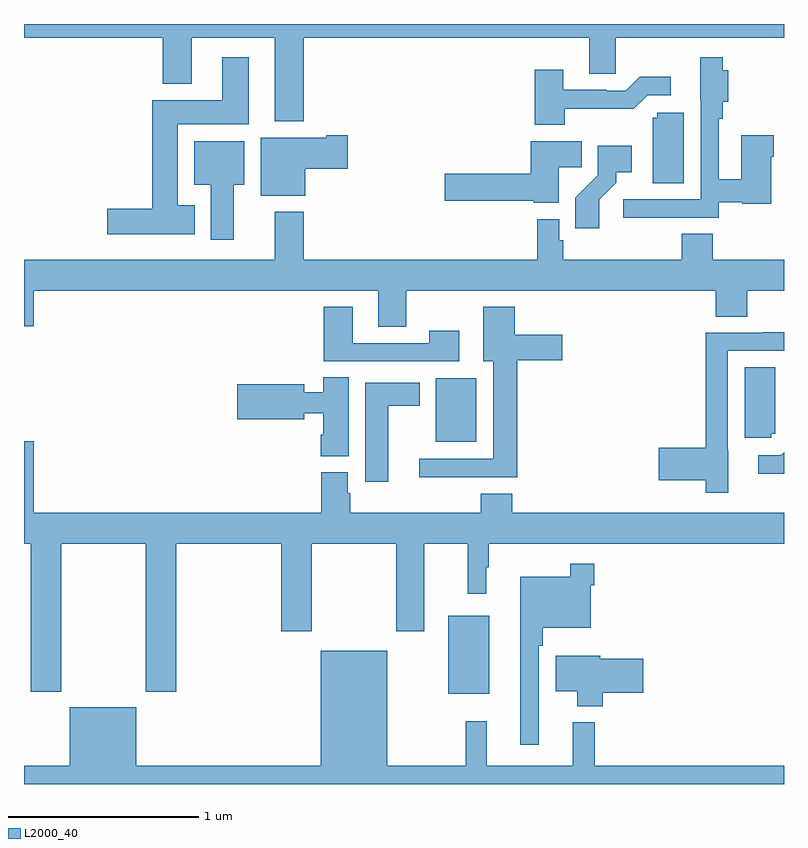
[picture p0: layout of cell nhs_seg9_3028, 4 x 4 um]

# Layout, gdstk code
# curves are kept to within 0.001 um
import gdstk
lib = gdstk.Library(unit=1e-6, precision=1e-09)
def R(c, l, rs):  # rectangles x0, y0, x1, y1
    for r in rs: c.add(gdstk.rectangle(r[:2], r[2:], *l))
def P(c, l, *ps):  # polygons
    for p in ps: c.add(gdstk.Polygon(p, *l))
L2000_40 = (2000, 40)

nhs_seg9_3028 = lib.new_cell('nhs_seg9_3028')
R(nhs_seg9_3028, L2000_40, [(287.234,1184.975,287.449,1185.385), (287.168,1186.301,287.38,1186.636)])
P(nhs_seg9_3028, L2000_40, [(286.472,1188.428),(287.975,1188.428),(287.975,1188.238),(288.114,1188.238),(288.114,1188.428),(289,1188.428),(289,1188.5),(285,1188.5),(285,1188.428),(285.731,1188.428),(285.731,1188.185),(285.883,1188.185),(285.883,1188.428),(286.319,1188.428),(286.319,1187.987),(286.472,1187.987)],
  [(285.898,1187.545),(285.808,1187.545),(285.808,1187.972),(286.183,1187.972),(286.183,1188.325),(286.043,1188.325),(286.043,1188.1),(285.674,1188.1),(285.674,1187.528),(285.438,1187.528),(285.438,1187.393),(285.898,1187.393)],
  [(288.377,1187.481),(288.657,1187.481),(288.657,1187.562),(288.78,1187.562),(288.78,1187.554),(288.934,1187.554),(288.934,1187.801),(288.947,1187.801),(288.947,1187.914),(288.776,1187.914),(288.776,1187.683),(288.657,1187.683),(288.657,1188.002),(288.677,1188.002),(288.677,1188.091),(288.707,1188.091),(288.707,1188.256),(288.677,1188.256),(288.677,1188.325),(288.56,1188.325),(288.56,1188.102),(288.561,1188.102),(288.561,1187.577),(288.153,1187.577),(288.153,1187.479),(288.377,1187.479)],
  [(287.847,1188.054),(288.209,1188.053),(288.282,1188.126),(288.403,1188.126),(288.403,1188.223),(288.241,1188.223),(288.168,1188.15),(288.068,1188.15),(288.068,1188.153),(287.839,1188.153),(287.839,1188.259),(287.687,1188.259),(287.687,1187.969),(287.847,1187.969)],
  [(288.472,1188.033),(288.333,1188.033),(288.333,1188.006),(288.308,1188.006),(288.308,1187.662),(288.472,1187.662)],
  [(286.48,1187.737),(286.705,1187.737),(286.705,1187.915),(286.592,1187.915),(286.592,1187.902),(286.247,1187.902),(286.247,1187.597),(286.48,1187.597)],
  [(286.105,1187.654),(286.159,1187.654),(286.159,1187.884),(285.896,1187.884),(285.896,1187.654),(285.983,1187.654),(285.983,1187.364),(286.105,1187.364)],
  [(287.815,1187.746),(287.936,1187.746),(287.936,1187.884),(287.666,1187.884),(287.666,1187.711),(287.214,1187.711),(287.214,1187.569),(287.682,1187.569),(287.682,1187.558),(287.815,1187.558)],
  [(288.028,1187.575),(288.118,1187.665),(288.118,1187.72),(288.199,1187.72),(288.199,1187.86),(288.021,1187.86),(288.021,1187.705),(287.902,1187.586),(287.902,1187.424),(288.028,1187.424)],
  [(287.013,1187.096),(288.641,1187.096),(288.641,1186.96),(288.806,1186.96),(288.806,1187.096),(289,1187.096),(289,1187.26),(288.626,1187.26),(288.626,1187.396),(288.461,1187.396),(288.461,1187.26),(287.837,1187.26),(287.837,1187.361),(287.817,1187.361),(287.817,1187.473),(287.701,1187.473),(287.701,1187.26),(286.472,1187.26),(286.472,1187.512),(286.319,1187.512),(286.319,1187.26),(285,1187.26),(285,1186.908),(285.052,1186.908),(285.052,1187.096),(286.865,1187.096),(286.865,1186.906),(287.013,1186.906)],
  [(287.29,1186.885),(287.134,1186.885),(287.134,1186.821),(286.729,1186.821),(286.729,1187.011),(286.577,1187.011),(286.577,1186.725),(287.29,1186.725)],
  [(287.597,1186.73),(287.833,1186.73),(287.833,1186.864),(287.584,1186.864),(287.584,1187.011),(287.417,1187.011),(287.417,1186.724),(287.471,1186.724),(287.471,1186.212),(287.079,1186.212),(287.079,1186.115),(287.597,1186.115)],
  [(288.706,1186.254),(288.705,1186.254),(288.705,1186.779),(289,1186.779),(289,1186.878),(288.889,1186.878),(288.889,1186.875),(288.589,1186.875),(288.589,1186.271),(288.342,1186.271),(288.342,1186.1),(288.589,1186.1),(288.589,1186.032),(288.706,1186.032)],
  [(288.933,1186.344),(288.955,1186.344),(288.955,1186.693),(288.794,1186.693),(288.794,1186.323),(288.933,1186.323)],
  [(286.708,1186.64),(286.574,1186.64),(286.574,1186.561),(286.474,1186.561),(286.474,1186.604),(286.122,1186.604),(286.122,1186.421),(286.474,1186.421),(286.474,1186.452),(286.574,1186.452),(286.574,1186.337),(286.562,1186.337),(286.562,1186.225),(286.708,1186.225)],
  [(286.918,1186.49),(287.083,1186.49),(287.083,1186.612),(286.796,1186.612),(286.796,1186.092),(286.918,1186.092)],
  [(286.718,1186.029),(286.705,1186.029),(286.705,1186.14),(286.565,1186.14),(286.565,1185.928),(285.052,1185.928),(285.052,1186.303),(285,1186.303),(285,1185.764),(285.035,1185.764),(285.035,1184.985),(285.195,1184.985),(285.195,1185.764),(285.64,1185.764),(285.64,1184.985),(285.8,1184.985),(285.8,1185.764),(286.355,1185.764),(286.355,1185.303),(286.515,1185.303),(286.515,1185.764),(286.96,1185.764),(286.96,1185.303),(287.107,1185.303),(287.107,1185.764),(287.335,1185.764),(287.335,1185.501),(287.434,1185.501),(287.434,1185.641),(287.446,1185.641),(287.446,1185.764),(289,1185.764),(289,1185.928),(287.57,1185.928),(287.57,1186.027),(287.405,1186.027),(287.405,1185.928),(286.718,1185.928)],
  [(289,1186.246),(288.984,1186.23),(288.864,1186.23),(288.864,1186.133),(289,1186.133)],
  [(287.709,1185.227),(287.729,1185.227),(287.729,1185.323),(287.982,1185.323),(287.982,1185.545),(288.002,1185.545),(288.002,1185.658),(287.874,1185.658),(287.874,1185.592),(287.612,1185.592),(287.612,1184.706),(287.709,1184.706)],
  [(289,1184.596),(288.005,1184.596),(288.005,1184.824),(287.888,1184.824),(287.888,1184.596),(287.435,1184.596),(287.435,1184.83),(287.325,1184.83),(287.325,1184.596),(286.912,1184.596),(286.912,1185.202),(286.562,1185.202),(286.562,1184.596),(285.592,1184.596),(285.592,1184.905),(285.242,1184.905),(285.242,1184.596),(285,1184.596),(285,1184.5),(289,1184.5)],
  [(288.047,1184.98),(288.259,1184.98),(288.259,1185.158),(288.034,1185.158),(288.034,1185.175),(287.798,1185.175),(287.798,1184.987),(287.912,1184.987),(287.912,1184.909),(288.047,1184.909)])

lib.write_gds('nhs_seg9_3028.gds')
